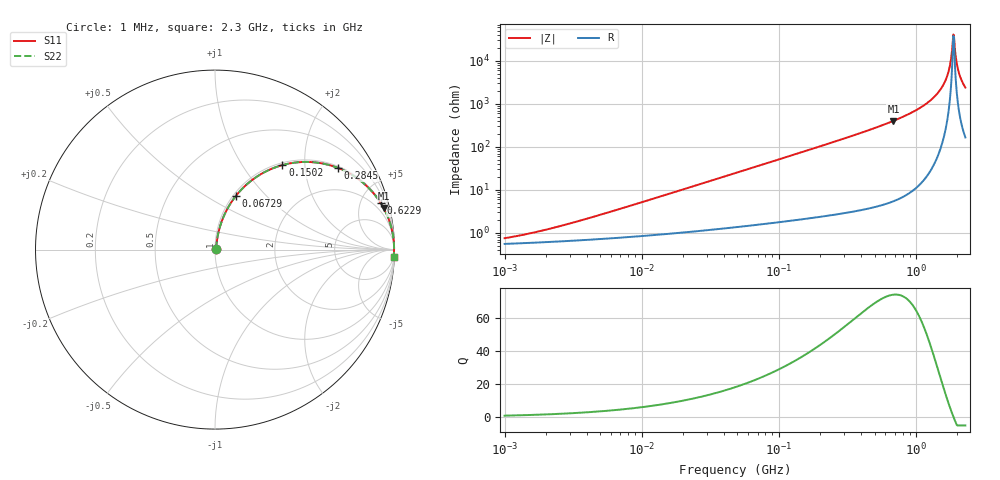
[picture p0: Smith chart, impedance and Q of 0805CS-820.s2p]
# MHz S MA R 50
!Freq  MagS11  AngS11  MagS21  AngS21  MagS12  AngS12  MagS22  AngS22
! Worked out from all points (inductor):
!   801 points, 1 MHz to 2.3 GHz, reference 50 ohm
!   read as one part in series: L = 81 nH near 4.107 MHz
!   highest Q = 74 at 686.2 MHz (marker M1), where L = 93.4 nH
!   self-resonance near 1.877 GHz
!   S11 on the Smith chart (normalised r, x): 1 MHz: 1.01, +0.01; 67.29 MHz: 1.03, +0.69; 150.2 MHz: 1.04, +1.54; 284.5 MHz: 1.06, +2.96; 622.9 MHz: 1.10, +7.12; 2.3 GHz: 4, -48
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1  0.007481 42.3  0.9945 -0.3  0.9945 -0.3  0.007481 42.3
3.656701  0.01966 69.0  0.9931 -1.1  0.9931 -1.1  0.01966 69.0
13.2427  0.06725 78.5  0.9888 -3.8  0.9888 -3.8  0.06725 78.5
47.95832  0.2346 73.3  0.9592 -13.5  0.9592 -13.5  0.2346 73.3
67.28829  0.3203 68.8  0.9332 -18.7  0.9332 -18.7  0.3203 68.8
150.2169  0.6021 51.4  0.7823 -37.0  0.7823 -37.0  0.6021 51.4
175.3692  0.6611 47.2  0.7341 -41.4  0.7341 -41.4  0.6611 47.2
284.4863  0.8218 33.7  0.5545 -55.2  0.5545 -55.2  0.8218 33.7
622.9257  0.9593 15.6  0.2695 -73.6  0.2695 -73.6  0.9593 15.6
635.0978  0.9611 15.3  0.2636 -73.9  0.2636 -73.9  0.9611 15.3
686.2113  0.9675 13.9  0.2403 -75.3  0.2403 -75.3  0.9675 13.9
1081.333  0.9906 6.9  0.1208 -82.1  0.1208 -82.1  0.9906 6.9
1445.52  0.9965 3.2  0.05585 -84.8  0.05585 -84.8  0.9965 3.2
1577.043  0.9973 2.1  0.03736 -84.8  0.03736 -84.8  0.9973 2.1
1687.558  0.9977 1.3  0.02317 -83.6  0.02317 -83.6  0.9977 1.3
1754.153  0.9978 0.9  0.01515 -81.1  0.01515 -81.1  0.9978 0.9
1841.103  0.9978 0.3  0.005403 -65.6  0.005403 -65.6  0.9978 0.3
1877.079  0.9978 0.1  0.002423 -22.0  0.002423 -22.0  0.9978 0.1
1932.364  0.9977 -0.3  0.005625 65.4  0.005625 65.4  0.9977 -0.3
2008.619  0.9975 -0.8  0.0134 78.8  0.0134 78.8  0.9975 -0.8
2087.883  0.9972 -1.2  0.02139 82.0  0.02139 82.0  0.9972 -1.2
2300  0.9962 -2.4  0.04164 83.6  0.04164 83.6  0.9962 -2.4
